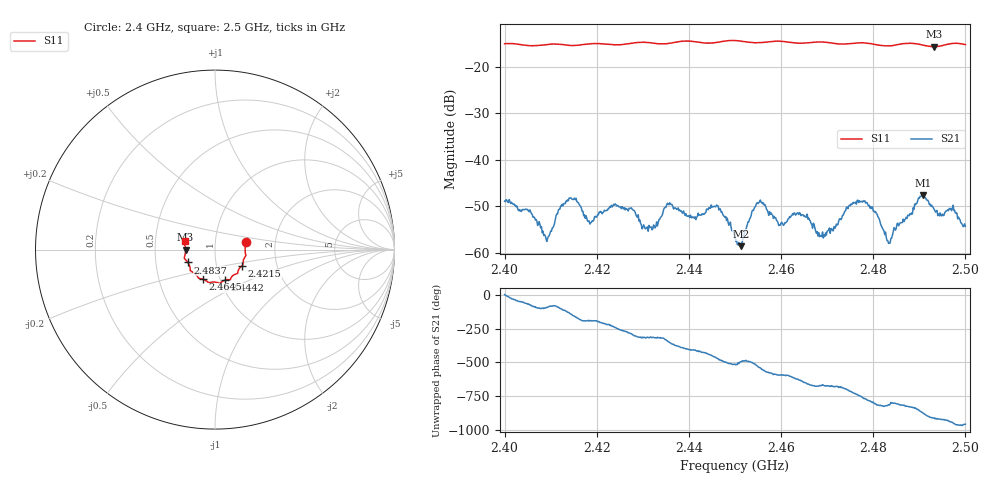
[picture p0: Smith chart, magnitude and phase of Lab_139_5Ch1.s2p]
# Hz S RI R 50
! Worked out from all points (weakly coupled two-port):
!   601 points, 2.4 GHz to 2.5 GHz, reference 50 ohm
!   highest |S21| = -47.62 dB at 2.4908 GHz (marker M1); lowest = -58.6 dB at 2.4513 GHz (marker M2)
!   lowest |S11| = -15.7 dB at 2.4932 GHz (marker M3), VSWR 1.39, Z = 35.9 - j0.0564 ohm
!   |S11| at or under -10 dB: start of sweep to end of sweep
!   S12 and S22 are empty: the file has one direction only
!   S11 on the Smith chart (normalised r, x): 2.4 GHz: 1.41, +0.12; 2.4215 GHz: 1.33, -0.25; 2.4442 GHz: 1.05, -0.37; 2.4645 GHz: 0.83, -0.29; 2.4837 GHz: 0.73, -0.11; 2.5 GHz: 0.71, +0.07
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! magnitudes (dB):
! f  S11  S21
! 2.4 GHz  -15.1  -48.9
! 2.409 GHz  -15.3  -57.0
! 2.4138 GHz  -15.4  -48.8
! 2.4167 GHz  -15.3  -50.4
! 2.4215 GHz  -15.1  -51.2
! 2.4333 GHz  -15.1  -53.6
! 2.4357 GHz  -15.0  -49.7
! 2.4442 GHz  -15.0  -50.7
! 2.4465 GHz  -14.7  -50.8
! 2.45 GHz  -14.4  -56.4
! 2.4513 GHz  -14.5  -58.6
! 2.4552 GHz  -14.9  -49.2
! 2.46 GHz  -14.6  -53.6
! 2.4645 GHz  -15.0  -51.8
! 2.4667 GHz  -14.8  -53.9
! 2.4693 GHz  -14.7  -56.2
! 2.478 GHz  -14.9  -48.9
! 2.4833 GHz  -15.6  -58.0
! 2.4837 GHz  -15.5  -57.9
! 2.4908 GHz  -15.4  -47.6
! 2.4932 GHz  -15.7  -50.6
! 2.5 GHz  -15.3  -54.3
